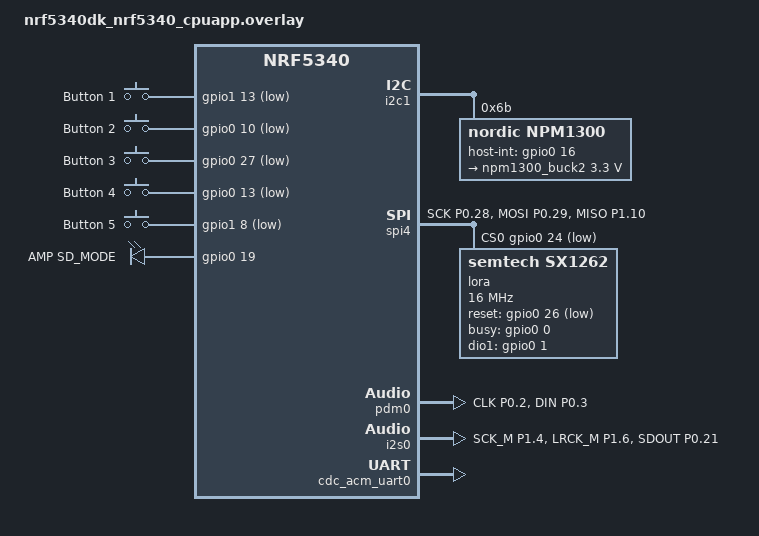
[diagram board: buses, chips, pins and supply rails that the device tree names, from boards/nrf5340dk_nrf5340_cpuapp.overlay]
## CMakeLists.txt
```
cmake_minimum_required(VERSION 3.20.0)

list(APPEND BOARD_ROOT ${CMAKE_CURRENT_SOURCE_DIR})

find_package(Zephyr REQUIRED HINTS $ENV{ZEPHYR_BASE})
project(volora)

file(GLOB CODEC2_SOURCES "lib/codec2/*.c")

file(GLOB APP_SOURCES "src/*.c")

target_sources(app PRIVATE ${APP_SOURCES} ${CODEC2_SOURCES})

target_include_directories(app PRIVATE lib/codec2)

target_compile_definitions(app PRIVATE
    CODEC2_MODE_EN_DEFAULT=0
    CODEC2_MODE_2400_EN=1
    __EMBEDDED__
    FDV_ARM_MATH
)
```

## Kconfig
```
mainmenu "Codec2 LoRa Voice"

source "Kconfig.zephyr"

choice LORA_VOICE_ROLE
	prompt "LoRa voice role"
	default LORA_VOICE_RX

config LORA_VOICE_TX
	bool "Transmitter (TX)"
	help
	  Encode audio from hts1a test data with Codec2 and transmit over LoRa.

config LORA_VOICE_RX
	bool "Receiver (RX)"
	help
	  Receive LoRa packets, decode with Codec2, output raw PCM via RTT channel 1.

endchoice
```

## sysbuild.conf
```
# Enable MCUboot bootloader
SB_CONFIG_BOOTLOADER_MCUBOOT=y

# Overwrite-only mode (no swap, simpler)
SB_CONFIG_MCUBOOT_MODE_OVERWRITE_ONLY=y

# Use DTS-based partitioning (partition manager is deprecated)
SB_CONFIG_PARTITION_MANAGER=n
```

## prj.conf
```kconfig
# Console over USB CDC ACM
CONFIG_USB_DEVICE_STACK_NEXT=y
CONFIG_CDC_ACM_SERIAL_INITIALIZE_AT_BOOT=y
CONFIG_UART_LINE_CTRL=y
CONFIG_CDC_ACM_SERIAL_MANUFACTURER_STRING="VoLoRa"
CONFIG_CDC_ACM_SERIAL_PRODUCT_STRING="Serial Port"

# Logging disabled for PDM data capture test
CONFIG_LOG=n

# MCUboot support
CONFIG_BOOTLOADER_MCUBOOT=y
CONFIG_FLASH=y
CONFIG_FLASH_MAP=y
CONFIG_IMG_MANAGER=y
CONFIG_STREAM_FLASH=y

# nPM1300 PMIC
CONFIG_I2C=y
CONFIG_MFD=y
CONFIG_MFD_NPM13XX=y
CONFIG_REGULATOR=y
CONFIG_REGULATOR_NPM13XX=y
CONFIG_SENSOR=y
CONFIG_NPM13XX_CHARGER=y
CONFIG_LED=y
CONFIG_LED_NPM13XX=y

# SPI + LoRa
CONFIG_SPI=y
CONFIG_LORA=y

# Codec2 needs a large main stack for nlp_create internals
CONFIG_MAIN_STACK_SIZE=16384
CONFIG_FPU=y

# CMSIS-DSP (used by Codec2 FDV_ARM_MATH path)
CONFIG_CMSIS_DSP=y
CONFIG_CMSIS_DSP_TRANSFORM=y
CONFIG_CMSIS_DSP_BASICMATH=y

# Audio: PDM microphone + I2S speaker
CONFIG_AUDIO=y
CONFIG_AUDIO_DMIC=y
CONFIG_I2S=y
CONFIG_BASE64=y
```

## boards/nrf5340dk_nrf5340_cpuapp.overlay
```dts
/*
 * nPM1300 PMIC connected via I2C
 * SCL: P1.02 (nRF5340) -> Pin 14 (nPM1300)
 * SDA: P0.09 (nRF5340) -> Pin 13 (nPM1300)
 * INT: P0.16 (nRF5340) <- GPIO1/Pin 8 (nPM1300)
 */

#include <zephyr/dt-bindings/lora/sx126x.h>

/* No LFXO on this board - use internal RC oscillator */
&lfxo {
	status = "disabled";
};

/* HFXO: 8 pF with internal load capacitors */
&hfxo {
	load-capacitors = "internal";
	load-capacitance-femtofarad = <8000>;
};

/* No QSPI flash on this board */
&qspi {
	status = "disabled";
};

&pinctrl {
	i2c1_default: i2c1_default {
		group1 {
			psels = <NRF_PSEL(TWIM_SDA, 0, 9)>,
				<NRF_PSEL(TWIM_SCL, 1, 2)>;
			bias-pull-up;
		};
	};

	i2c1_sleep: i2c1_sleep {
		group1 {
			psels = <NRF_PSEL(TWIM_SDA, 0, 9)>,
				<NRF_PSEL(TWIM_SCL, 1, 2)>;
			low-power-enable;
		};
	};

	spi4_default: spi4_default {
		group1 {
			psels = <NRF_PSEL(SPIM_SCK, 0, 28)>,
				<NRF_PSEL(SPIM_MOSI, 0, 29)>,
				<NRF_PSEL(SPIM_MISO, 1, 10)>;
		};
	};

	spi4_sleep: spi4_sleep {
		group1 {
			psels = <NRF_PSEL(SPIM_SCK, 0, 28)>,
				<NRF_PSEL(SPIM_MOSI, 0, 29)>,
				<NRF_PSEL(SPIM_MISO, 1, 10)>;
			low-power-enable;
		};
	};

	pdm0_default: pdm0_default {
		group1 {
			psels = <NRF_PSEL(PDM_CLK, 0, 2)>,
				<NRF_PSEL(PDM_DIN, 0, 3)>;
		};
	};

	pdm0_sleep: pdm0_sleep {
		group1 {
			psels = <NRF_PSEL(PDM_CLK, 0, 2)>,
				<NRF_PSEL(PDM_DIN, 0, 3)>;
			low-power-enable;
		};
	};

	i2s0_default: i2s0_default {
		group1 {
			psels = <NRF_PSEL(I2S_SCK_M, 1, 4)>,
				<NRF_PSEL(I2S_LRCK_M, 1, 6)>,
				<NRF_PSEL(I2S_SDOUT, 0, 21)>;
		};
	};

	i2s0_sleep: i2s0_sleep {
		group1 {
			psels = <NRF_PSEL(I2S_SCK_M, 1, 4)>,
				<NRF_PSEL(I2S_LRCK_M, 1, 6)>,
				<NRF_PSEL(I2S_SDOUT, 0, 21)>;
			low-power-enable;
		};
	};
};

&i2c1 {
	npm1300: pmic@6b {
		compatible = "nordic,npm1300";
		reg = <0x6b>;
		host-int-gpios = <&gpio0 16 0>;
		pmic-int-pin = <1>;

		npm1300_regulators: regulators {
			compatible = "nordic,npm1300-regulator";

			/* BUCK1: Disabled (VSET1 tied to GND) */
			npm1300_buck1: BUCK1 {
			};

			/* BUCK2: 3.3V output on VOUT2, powers MCU VDD via JP1 */
			npm1300_buck2: BUCK2 {
				regulator-min-microvolt = <3300000>;
				regulator-max-microvolt = <3300000>;
				regulator-init-microvolt = <3300000>;
				regulator-boot-on;
			};
		};

		npm1300_charger: charger {
			compatible = "nordic,npm1300-charger";
			term-microvolt = <4200000>;
			term-warm-microvolt = <4000000>;
			current-microamp = <800000>;
			dischg-limit-microamp = <1000000>;
			vbus-limit-microamp = <1200000>;
			thermistor-ohms = <10000>;
			thermistor-beta = <3435>;
			charging-enable;
		};

		npm1300_leds: leds {
			compatible = "nordic,npm1300-led";
			/* LED0 (pin 25) = Blue, LED1 (pin 26) = Green, LED2 (pin 27) = Red */
			nordic,led0-mode = "charging";
			nordic,led1-mode = "host";
			nordic,led2-mode = "error";
		};
	};
};

/* SPI4 for Wio-SX1262 LoRa module */
&spi4 {
	compatible = "nordic,nrf-spim";
	status = "okay";
	pinctrl-0 = <&spi4_default>;
	pinctrl-1 = <&spi4_sleep>;
	pinctrl-names = "default", "sleep";
	cs-gpios = <&gpio0 24 GPIO_ACTIVE_LOW>;

	lora: sx1262@0 {
		compatible = "semtech,sx1262";
		reg = <0>;
		spi-max-frequency = <16000000>;
		reset-gpios = <&gpio0 26 GPIO_ACTIVE_LOW>;
		busy-gpios = <&gpio0 0 GPIO_ACTIVE_HIGH>;
		dio1-gpios = <&gpio0 1 GPIO_ACTIVE_HIGH>;
		dio2-tx-enable;
		dio3-tcxo-voltage = <SX126X_DIO3_TCXO_1V8>;
		tcxo-power-startup-delay-ms = <5>;
	};
};

/ {
	buttons {
		compatible = "gpio-keys";

		button0: button_0 {
			gpios = <&gpio1 13 (GPIO_PULL_UP | GPIO_ACTIVE_LOW)>;
			label = "Button 1";
		};
		button1: button_1 {
			gpios = <&gpio0 10 (GPIO_PULL_UP | GPIO_ACTIVE_LOW)>;
			label = "Button 2";
		};
		button2: button_2 {
			gpios = <&gpio0 27 (GPIO_PULL_UP | GPIO_ACTIVE_LOW)>;
			label = "Button 3";
		};
		button3: button_3 {
			gpios = <&gpio0 13 (GPIO_PULL_UP | GPIO_ACTIVE_LOW)>;
			label = "Button 4";
		};
		button4: button_4 {
			gpios = <&gpio1 8 (GPIO_PULL_UP | GPIO_ACTIVE_LOW)>;
			label = "Button 5";
		};
	};

	/* MAX98357A SD_MODE enable pin (active high) */
	amp_sd_mode: amp-sd-mode {
		compatible = "gpio-leds";
		amp_en: amp_en {
			gpios = <&gpio0 19 GPIO_ACTIVE_HIGH>;
			label = "AMP SD_MODE";
		};
	};

	chosen {
		zephyr,console = &cdc_acm_uart0;
	};
};

/* PDM microphone (MSM261DGT003) */
dmic_dev: &pdm0 {
	status = "okay";
	pinctrl-0 = <&pdm0_default>;
	pinctrl-1 = <&pdm0_sleep>;
	pinctrl-names = "default", "sleep";
	clock-source = "PCLK32M_HFXO";
};

/* I2S output to MAX98357A speaker amp */
&i2s0 {
	status = "okay";
	pinctrl-0 = <&i2s0_default>;
	pinctrl-1 = <&i2s0_sleep>;
	pinctrl-names = "default", "sleep";
};

/* USB CDC ACM for console output and MCUmgr DFU */
&zephyr_udc0 {
	cdc_acm_uart0: cdc_acm_uart0 {
		compatible = "zephyr,cdc-acm-uart";
	};
};
```

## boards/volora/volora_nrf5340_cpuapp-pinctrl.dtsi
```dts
&pinctrl {
	i2c1_default: i2c1_default {
		group1 {
			psels = <NRF_PSEL(TWIM_SDA, 0, 9)>,
				<NRF_PSEL(TWIM_SCL, 1, 2)>;
			bias-pull-up;
		};
	};

	i2c1_sleep: i2c1_sleep {
		group1 {
			psels = <NRF_PSEL(TWIM_SDA, 0, 9)>,
				<NRF_PSEL(TWIM_SCL, 1, 2)>;
			low-power-enable;
		};
	};

	spi4_default: spi4_default {
		group1 {
			psels = <NRF_PSEL(SPIM_SCK, 0, 28)>,
				<NRF_PSEL(SPIM_MOSI, 0, 29)>,
				<NRF_PSEL(SPIM_MISO, 1, 10)>;
		};
	};

	spi4_sleep: spi4_sleep {
		group1 {
			psels = <NRF_PSEL(SPIM_SCK, 0, 28)>,
				<NRF_PSEL(SPIM_MOSI, 0, 29)>,
				<NRF_PSEL(SPIM_MISO, 1, 10)>;
			low-power-enable;
		};
	};

	pdm0_default: pdm0_default {
		group1 {
			psels = <NRF_PSEL(PDM_CLK, 0, 2)>,
				<NRF_PSEL(PDM_DIN, 0, 3)>;
		};
	};

	pdm0_sleep: pdm0_sleep {
		group1 {
			psels = <NRF_PSEL(PDM_CLK, 0, 2)>,
				<NRF_PSEL(PDM_DIN, 0, 3)>;
			low-power-enable;
		};
	};

	i2s0_default: i2s0_default {
		group1 {
			psels = <NRF_PSEL(I2S_SCK_M, 1, 4)>,
				<NRF_PSEL(I2S_LRCK_M, 1, 6)>,
				<NRF_PSEL(I2S_SDOUT, 0, 21)>;
		};
	};

	i2s0_sleep: i2s0_sleep {
		group1 {
			psels = <NRF_PSEL(I2S_SCK_M, 1, 4)>,
				<NRF_PSEL(I2S_LRCK_M, 1, 6)>,
				<NRF_PSEL(I2S_SDOUT, 0, 21)>;
			low-power-enable;
		};
	};
};
```

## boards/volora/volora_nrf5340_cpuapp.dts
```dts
/dts-v1/;
#include <nordic/nrf5340_cpuapp_qkaa.dtsi>
#include "volora_nrf5340_cpuapp-pinctrl.dtsi"
#include <zephyr/dt-bindings/lora/sx126x.h>

/ {
	model = "VoLoRa";
	compatible = "custom,volora";

	aliases {
		lora0 = &lora;
	};

	chosen {
		zephyr,sram = &sram0_image;
		zephyr,flash = &flash0;
		zephyr,code-partition = &slot0_partition;
		zephyr,console = &cdc_acm_uart0;
	};

	buttons {
		compatible = "gpio-keys";

		button0: button_0 {
			gpios = <&gpio1 13 (GPIO_PULL_UP | GPIO_ACTIVE_LOW)>;
			label = "Button 1";
		};
		button1: button_1 {
			gpios = <&gpio0 10 (GPIO_PULL_UP | GPIO_ACTIVE_LOW)>;
			label = "Button 2";
		};
		button2: button_2 {
			gpios = <&gpio0 27 (GPIO_PULL_UP | GPIO_ACTIVE_LOW)>;
			label = "Button 3";
		};
		button3: button_3 {
			gpios = <&gpio0 13 (GPIO_PULL_UP | GPIO_ACTIVE_LOW)>;
			label = "Button 4";
		};
		button4: button_4 {
			gpios = <&gpio1 8 (GPIO_PULL_UP | GPIO_ACTIVE_LOW)>;
			label = "Button 5";
		};
	};

	/* MAX98357A SD_MODE enable pin */
	amp_sd_mode: amp-sd-mode {
		compatible = "gpio-leds";
		amp_en: amp_en {
			gpios = <&gpio0 19 GPIO_ACTIVE_HIGH>;
			label = "AMP SD_MODE";
		};
	};
};

/* No LFXO on this board */
&lfxo {
	status = "disabled";
};

/* HFXO: 8 pF with internal load capacitors */
&hfxo {
	load-capacitors = "internal";
	load-capacitance-femtofarad = <8000>;
};

/* No QSPI flash on this board */
&qspi {
	status = "disabled";
};

/* Release NFC pins (P0.02, P0.03) for GPIO/PDM use */
&uicr {
	nfct-pins-as-gpios;
};

&gpio0 {
	status = "okay";
};

&gpio1 {
	status = "okay";
};

&gpiote {
	status = "okay";
};

/* I2C1: nPM1300 PMIC */
&i2c1 {
	compatible = "nordic,nrf-twim";
	status = "okay";
	pinctrl-0 = <&i2c1_default>;
	pinctrl-1 = <&i2c1_sleep>;
	pinctrl-names = "default", "sleep";

	npm1300: pmic@6b {
		compatible = "nordic,npm1300";
		reg = <0x6b>;
		host-int-gpios = <&gpio0 16 0>;
		pmic-int-pin = <1>;

		npm1300_regulators: regulators {
			compatible = "nordic,npm1300-regulator";

			npm1300_buck1: BUCK1 {
			};

			npm1300_buck2: BUCK2 {
				regulator-min-microvolt = <3300000>;
				regulator-max-microvolt = <3300000>;
				regulator-init-microvolt = <3300000>;
				regulator-boot-on;
			};
		};

		npm1300_charger: charger {
			compatible = "nordic,npm1300-charger";
			term-microvolt = <4200000>;
			term-warm-microvolt = <4000000>;
			current-microamp = <800000>;
			dischg-limit-microamp = <1000000>;
			vbus-limit-microamp = <1200000>;
			thermistor-ohms = <10000>;
			thermistor-beta = <3435>;
			charging-enable;
		};

		npm1300_leds: leds {
			compatible = "nordic,npm1300-led";
			nordic,led0-mode = "charging";
			nordic,led1-mode = "host";
			nordic,led2-mode = "error";
		};
	};
};

/* SPI4: Wio-SX1262 LoRa module */
&spi4 {
	compatible = "nordic,nrf-spim";
	status = "okay";
	pinctrl-0 = <&spi4_default>;
	pinctrl-1 = <&spi4_sleep>;
	pinctrl-names = "default", "sleep";
	cs-gpios = <&gpio0 24 GPIO_ACTIVE_LOW>;

	lora: sx1262@0 {
		compatible = "semtech,sx1262";
		reg = <0>;
		spi-max-frequency = <1000000>;
		reset-gpios = <&gpio0 26 GPIO_ACTIVE_LOW>;
		busy-gpios = <&gpio0 0 GPIO_ACTIVE_HIGH>;
		dio1-gpios = <&gpio0 1 GPIO_ACTIVE_HIGH>;
		dio2-tx-enable;
		dio3-tcxo-voltage = <SX126X_DIO3_TCXO_1V8>;
		tcxo-power-startup-delay-ms = <5>;
	};
};

/* PDM microphone (MSM261DGT003) */
dmic_dev: &pdm0 {
	status = "okay";
	pinctrl-0 = <&pdm0_default>;
	pinctrl-1 = <&pdm0_sleep>;
	pinctrl-names = "default", "sleep";
	clock-source = "PCLK32M_HFXO";
};

/* I2S output to MAX98357A speaker amp */
&i2s0 {
	status = "okay";
	pinctrl-0 = <&i2s0_default>;
	pinctrl-1 = <&i2s0_sleep>;
	pinctrl-names = "default", "sleep";
};

/* USB */
zephyr_udc0: &usbd {
	compatible = "nordic,nrf-usbd";
	status = "okay";

	cdc_acm_uart0: cdc_acm_uart0 {
		compatible = "zephyr,cdc-acm-uart";
	};
};

/* Flash partitions */
#include <nordic/nrf5340_cpuapp_partition.dtsi>
```

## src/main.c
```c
/*
 * VoLoRa — Push-to-Talk voice over LoRa
 *
 * Architecture: 6 threads in 3 pairs + 4 message queues
 *
 * TX path (PTT held):
 *   [Mic Thread] --Q1(PCM)--> [Encode Thread] --Q2(coded)--> [LoRa TX Thread]
 *
 * RX path (PTT released):
 *   [LoRa RX Thread] --Q3(coded)--> [Decode Thread] --Q4(PCM)--> [Speaker Thread]
 *
 * Interrupts:
 *   - PTT button (SW3, P1.13): starts/stops TX path
 *   - LoRa RX async callback: feeds Q3
 */

#include <hal/nrf_pdm.h>
#include <string.h>
#include <zephyr/audio/dmic.h>
#include <zephyr/drivers/gpio.h>
#include <zephyr/drivers/i2s.h>
#include <zephyr/drivers/led.h>
#include <zephyr/drivers/lora.h>
#include <zephyr/drivers/uart.h>
#include <zephyr/kernel.h>

#include "codec2.h"

/* ── Radio config ─────────────────────────────────────────────────────────── */
#define RF_FREQ 868123456
#define TX_POWER 14
#define RF_BW BW_125_KHZ
#define RF_SF SF_7
#define RF_CR CR_4_5
#define RF_PREAMBLE 8

/* ── Codec2 2400 bps constants ────────────────────────────────────────────── */
#define CODEC2_MODE_VAL CODEC2_MODE_2400
#define C2_NSAM 160 /* samples per frame (8 kHz × 20 ms) */
#define C2_NBYTE 6  /* encoded bytes per frame */
#define FRAMES_PER_PKT 4

/* Packet layout: [1 byte header][FRAMES_PER_PKT × C2_NBYTE payload] = 25 bytes
 *
 * Header byte:
 *   bits [7:4]  4-bit rolling sequence number (0–15)
 *   bit  [3]    NEW_SESSION — set on first packet of each PTT press
 *   bits [2:0]  reserved
 */
#define PKT_PAYLOAD (FRAMES_PER_PKT * C2_NBYTE) /* 24 bytes */
#define PKT_LEN (1 + PKT_PAYLOAD)               /* 25 bytes */
#define HDR_SEQ_SHIFT 4
#define HDR_SEQ_MASK 0xF0U
#define HDR_NEW_SESSION BIT(3)
#define HDR_BENCHMARK BIT(2)      /* packet is part of a benchmark run */
#define HDR_BENCHMARK_LAST BIT(1) /* last packet of the benchmark run */

/* ── Benchmark config ─────────────────────────────────────────────────────── */
/* Uncomment to compile in benchmark mode: PTT sends 100 dummy packets instead
   of voice; the receiver counts and reports how many arrived. */
#define BENCHMARK_MODE
#define BENCHMARK_PKT_COUNT 100

/* ── Audio config ─────────────────────────────────────────────────────────── */
/* Request 8 kHz directly from the DMIC driver; it handles decimation internally
   with a better filter than our 2-tap pair-average. */
#define PDM_SAMPLE_RATE 8000
#define PDM_MIN_CLK 500000
#define PDM_BLOCK_SIZE (PDM_SAMPLE_RATE / 50 * sizeof(int16_t))
#define PDM_BLOCK_COUNT 8
#define I2S_SAMPLE_RATE 8000
#define I2S_BLOCK_SAMPLES C2_NSAM                                /* 160 = 20ms at 8 kHz */
#define I2S_BLOCK_SIZE (I2S_BLOCK_SAMPLES * 2 * sizeof(int16_t)) /* stereo */
#define I2S_BLOCK_COUNT 4

/* ── Hardware nodes ───────────────────────────────────────────────────────── */
#define AMP_EN_NODE DT_NODELABEL(amp_en)
#define SW3_NODE DT_NODELABEL(button0) /* P1.13 */
#define LED_DEV_NODE DT_NODELABEL(npm1300_leds)
#define LED_GREEN 1

/* ── Queue depths ─────────────────────────────────────────────────────────── */
#define PCM_Q_DEPTH 8
#define CODED_Q_DEPTH 16

/* ── Queue message types ──────────────────────────────────────────────────── */
typedef struct {
    int16_t samples[C2_NSAM]; /* 160 samples, 320 bytes */
} pcm_frame_t;

typedef struct {
    uint8_t bits[C2_NBYTE]; /* 6 bytes */
} coded_frame_t;

typedef struct {
    uint8_t data[PKT_LEN]; /* 1 header + 24 payload = 25 bytes */
    uint16_t len;
    int16_t rssi;
} lora_pkt_t;

/* ── Message queues (4 total) ─────────────────────────────────────────────── */
K_MSGQ_DEFINE(q1_mic_to_enc, sizeof(pcm_frame_t), PCM_Q_DEPTH, 4);
K_MSGQ_DEFINE(q2_enc_to_tx, sizeof(coded_frame_t), CODED_Q_DEPTH, 4);
K_MSGQ_DEFINE(q3_rx_to_dec, sizeof(lora_pkt_t), 8, 4);
K_MSGQ_DEFINE(q4_dec_to_spk, sizeof(pcm_frame_t), PCM_Q_DEPTH, 4);

/* ── Memory slabs for DMA ─────────────────────────────────────────────────── */
K_MEM_SLAB_DEFINE_STATIC(pdm_slab, PDM_BLOCK_SIZE, PDM_BLOCK_COUNT, 4);
K_MEM_SLAB_DEFINE_STATIC(i2s_slab, I2S_BLOCK_SIZE, I2S_BLOCK_COUNT, 4);

/* ── Shared state ─────────────────────────────────────────────────────────── */
static const struct device* dmic_dev;
static const struct device* i2s_dev;
static const struct device* lora_dev;
static const struct device* led_dev;
static struct gpio_dt_spec amp_en;
static struct gpio_dt_spec sw3;
static struct gpio_callback sw3_cb_data;

static struct CODEC2* codec2;

static volatile bool tx_active; /* true = PTT held, transmitting */

#ifdef BENCHMARK_MODE
static int bench_rx_count;
static int bench_rx_errors;
static bool bench_rx_active;
#endif

/* ═══════════════════════════════════════════════════════════════════════════
 * PTT button interrupt
 * ═══════════════════════════════════════════════════════════════════════════ */
static void ptt_isr(const struct device* dev, struct gpio_callback* cb, uint32_t pins) {
    tx_active = (gpio_pin_get_dt(&sw3) != 0);
}

/* ═══════════════════════════════════════════════════════════════════════════
 * Thread 1: Mic (TX path)
 *   Records PDM at 16 kHz, decimates 2:1 to 8 kHz, sends PCM frames on Q1
 * ═══════════════════════════════════════════════════════════════════════════ */
static void mic_thread_fn(void* a, void* b, void* c) {
    struct pcm_stream_cfg stream = {
        .pcm_width = 16,
        .mem_slab = &pdm_slab,
    };
    struct dmic_cfg cfg = {
        .io = {
            .min_pdm_clk_freq = PDM_MIN_CLK,
            .max_pdm_clk_freq = 4000000,
            .min_pdm_clk_dc = 40,
            .max_pdm_clk_dc = 60,
        },
        .streams = &stream,
        .channel = {
            .req_num_streams = 1,
            .req_num_chan = 1,
            .req_chan_map_lo = dmic_build_channel_map(0, 0, PDM_CHAN_RIGHT),
        },
    };
    stream.pcm_rate = PDM_SAMPLE_RATE;
    stream.block_size = PDM_BLOCK_SIZE;

    if (dmic_configure(dmic_dev, &cfg) < 0) {
        printk("DMIC configure failed\n");
        return;
    }

    /* +20 dB gain for -26 dBFS mic */
    NRF_PDM0_S->GAINL = 0x50;
    NRF_PDM0_S->GAINR = 0x50;

    bool was_active = false;
    int skip_frames = 0;

    while (true) {
        if (!tx_active) {
            if (was_active) {
                dmic_trigger(dmic_dev, DMIC_TRIGGER_STOP);
                was_active = false;
            }
            k_msleep(10);
            continue;
        }

        if (!was_active) {
            dmic_trigger(dmic_dev, DMIC_TRIGGER_START);
            was_active = true;
            skip_frames = 3;
            led_on(led_dev, LED_GREEN);
        }

        void* buffer;
        uint32_t size;
        int64_t t0 = k_uptime_get();
        int ret = dmic_read(dmic_dev, 0, &buffer, &size, 200);
        int64_t dt = k_uptime_get() - t0;

        if (ret < 0) {
            continue;
        }

        if (skip_frames > 0) {
            k_mem_slab_free(&pdm_slab, buffer);
            skip_frames--;
            if (skip_frames == 0) {
                /* Print timing of the first real block */
                printk(
                    "[MIC] block interval=%d ms  size=%u B  "
                    "=> actual_rate~%d Hz\n",
                    (int)dt, size,
                    (int)(1000u * (size / sizeof(int16_t)) / (uint32_t)dt));
            }
            continue;
        }

        pcm_frame_t frame;
        int copy = MIN(C2_NSAM, (int)(size / sizeof(int16_t)));
        memcpy(frame.samples, buffer, copy * sizeof(int16_t));

        k_mem_slab_free(&pdm_slab, buffer);
        k_msgq_put(&q1_mic_to_enc, &frame, K_NO_WAIT);
    }
}

/* ═══════════════════════════════════════════════════════════════════════════
 * Thread 2: Speaker (RX path)
 *   Takes decoded 8 kHz PCM from Q4, upsamples to 16 kHz, outputs via I2S
 * ═══════════════════════════════════════════════════════════════════════════ */
/* Alloc a slab block, fill it from frame (upsampled 8→16 kHz, mono→stereo),
   hand it to i2s_write. Returns 0 on success; frees the block on failure. */
static int spk_write_frame(const pcm_frame_t* frame) {
    void* buf;

    if (k_mem_slab_alloc(&i2s_slab, &buf, K_MSEC(100)) != 0) {
        return -ENOMEM;
    }

    int16_t* out = (int16_t*)buf;

    /* I2S runs at 8 kHz — mono→stereo, no upsampling needed */
    for (int i = 0; i < C2_NSAM; i++) {
        out[i * 2] = frame->samples[i];     /* L */
        out[i * 2 + 1] = frame->samples[i]; /* R */
    }

    int ret = i2s_write(i2s_dev, buf, I2S_BLOCK_SIZE);

    if (ret != 0) {
        k_mem_slab_free(&i2s_slab, buf);
    }

    return ret;
}

static void speaker_thread_fn(void* a, void* b, void* c) {
    static const struct i2s_config i2s_cfg = {
        .word_size = 16,
        .channels = 2,
        .format = I2S_FMT_DATA_FORMAT_I2S,
        .options = I2S_OPT_BIT_CLK_MASTER | I2S_OPT_FRAME_CLK_MASTER,
        .frame_clk_freq = I2S_SAMPLE_RATE,
        .mem_slab = &i2s_slab,
        .block_size = I2S_BLOCK_SIZE,
        .timeout = 1000,
    };
    static const pcm_frame_t silence; /* zero-initialised */

    bool i2s_running = false;
    bool amp_on = false;
    int silent_frames = 0;

    while (true) {
        pcm_frame_t frame;
        bool have_audio = (k_msgq_get(&q4_dec_to_spk, &frame, K_NO_WAIT) == 0);

        /* ── Not yet started: wait for first real audio frame ── */
        if (!i2s_running) {
            if (!have_audio) {
                k_msleep(5);
                continue;
            }

            printk("[SPK] start\n");
            gpio_pin_set_dt(&amp_en, 1);
            amp_on = true;
            led_on(led_dev, LED_GREEN);
            i2s_configure(i2s_dev, I2S_DIR_TX, &i2s_cfg);

            /* Pre-fill 2 slots: nRF I2S double-buffer needs ≥2 before START */
            if (spk_write_frame(&frame) != 0) {
                gpio_pin_set_dt(&amp_en, 0);
                amp_on = false;
                led_off(led_dev, LED_GREEN);
                k_msleep(10);
                continue;
            }

            pcm_frame_t f2 = {0};
            k_msgq_get(&q4_dec_to_spk, &f2, K_NO_WAIT);
            spk_write_frame(&f2);

            i2s_trigger(i2s_dev, I2S_DIR_TX, I2S_TRIGGER_START);
            i2s_running = true;
            silent_frames = 0;
            continue;
        }

        /* ── I2S running: write audio or silence to keep DMA fed ── */
        const pcm_frame_t* to_write;

        if (have_audio) {
            to_write = &frame;
            silent_frames = 0;
            if (!amp_on) {
                gpio_pin_set_dt(&amp_en, 1);
                led_on(led_dev, LED_GREEN);
                amp_on = true;
            }
        } else {
            to_write = &silence;
            silent_frames++;
            /* Disable amp after ~200 ms of silence (10 × 20 ms frames) */
            if (amp_on && silent_frames > 10) {
                gpio_pin_set_dt(&amp_en, 0);
                led_off(led_dev, LED_GREEN);
                amp_on = false;
            }
        }

        int ret = spk_write_frame(to_write);

        if (ret != 0) {
            printk("[SPK] err %d — restarting\n", ret);
            i2s_trigger(i2s_dev, I2S_DIR_TX, I2S_TRIGGER_DROP);
            gpio_pin_set_dt(&amp_en, 0);
            led_off(led_dev, LED_GREEN);
            i2s_running = false;
            amp_on = false;
        }
    }
}

/* ═══════════════════════════════════════════════════════════════════════════
 * Thread 3: Codec2 Encode (TX path)
 * ═══════════════════════════════════════════════════════════════════════════ */
static void encode_thread_fn(void* a, void* b, void* c) {
    pcm_frame_t frame;
    coded_frame_t coded;

    while (true) {
        if (k_msgq_get(&q1_mic_to_enc, &frame, K_FOREVER) == 0) {
            codec2_encode(codec2, coded.bits, frame.samples);
            k_msgq_put(&q2_enc_to_tx, &coded, K_MSEC(50));
        }
    }
}

/* ═══════════════════════════════════════════════════════════════════════════
 * Thread 4: Codec2 Decode (RX path)
 * ═══════════════════════════════════════════════════════════════════════════ */
static void decode_thread_fn(void* a, void* b, void* c) {
    lora_pkt_t pkt;
    pcm_frame_t frame;
    uint8_t last_seq = 0xFF;

    while (true) {
        if (k_msgq_get(&q3_rx_to_dec, &pkt, K_FOREVER) != 0) {
            continue;
        }
        if (pkt.len < 1 + C2_NBYTE) {
            continue;
        }

        uint8_t hdr = pkt.data[0];
        uint8_t seq = (hdr & HDR_SEQ_MASK) >> HDR_SEQ_SHIFT;
        bool new_session = (hdr & HDR_NEW_SESSION) != 0;

        if (!new_session && last_seq != 0xFF) {
            uint8_t expected = (last_seq + 1) & 0x0FU;
            if (seq != expected) {
                printk("[DEC] lost pkt: expected seq %d got %d\n",
                       expected, seq);
            }
        }
        last_seq = seq;

        int frames = (pkt.len - 1) / C2_NBYTE;

        for (int f = 0; f < frames; f++) {
            codec2_decode(codec2, frame.samples,
                          &pkt.data[1 + f * C2_NBYTE]);
            /* First packet of a new PTT session: warm up decoder state
               but don't play — avoids click/garbage on session start. */
            if (!new_session) {
                k_msgq_put(&q4_dec_to_spk, &frame, K_MSEC(50));
            }
        }
    }
}

/* ═══════════════════════════════════════════════════════════════════════════
 * Thread 5: LoRa TX (TX path)
 *   Collects FRAMES_PER_PKT encoded frames from Q2, transmits packet
 * ═══════════════════════════════════════════════════════════════════════════ */
static K_MUTEX_DEFINE(radio_mutex);

static void lora_configure(bool tx) {
    struct lora_modem_config cfg = {
        .frequency = RF_FREQ,
        .bandwidth = RF_BW,
        .datarate = RF_SF,
        .coding_rate = RF_CR,
        .preamble_len = RF_PREAMBLE,
        .tx_power = TX_POWER,
        .tx = tx,
    };
    lora_config(lora_dev, &cfg);
}

static void lora_tx_thread_fn(void* a, void* b, void* c) {
    uint8_t pkt_buf[PKT_LEN];
    coded_frame_t coded;
    bool in_tx_mode = false;
    bool session_started = false;
    uint8_t tx_seq = 0;

    while (true) {
        if (!tx_active) {
            in_tx_mode = false;
            session_started = false;
            k_msleep(10);
            continue;
        }

        /* Switch to TX once per PTT press */
        if (!in_tx_mode) {
            k_mutex_lock(&radio_mutex, K_FOREVER);
            lora_configure(true);
            k_mutex_unlock(&radio_mutex);
            in_tx_mode = true;
            tx_seq = 0;

#ifdef BENCHMARK_MODE
            printk("[BENCH] TX start — sending %d packets\n", BENCHMARK_PKT_COUNT);
            for (int i = 0; i < BENCHMARK_PKT_COUNT; i++) {
                uint8_t hdr = ((tx_seq & 0x0FU) << HDR_SEQ_SHIFT) | HDR_BENCHMARK;
                if (i == 0)
                    hdr |= HDR_NEW_SESSION;
                if (i == BENCHMARK_PKT_COUNT - 1)
                    hdr |= HDR_BENCHMARK_LAST;
                tx_seq = (tx_seq + 1) & 0x0FU;
                pkt_buf[0] = hdr;
                /* payload = seq value repeated; receiver uses this to detect corruption */
                memset(&pkt_buf[1], hdr >> HDR_SEQ_SHIFT, PKT_PAYLOAD);

                k_mutex_lock(&radio_mutex, K_FOREVER);
                int ret = lora_send(lora_dev, pkt_buf, PKT_LEN);
                k_mutex_unlock(&radio_mutex);
                printk("[BENCH TX] %d/%d%s\n", i + 1, BENCHMARK_PKT_COUNT,
                       ret < 0 ? " ERR" : "");
            }
            printk("[BENCH] TX done\n");
            while (tx_active) {
                k_msleep(10);
            }
            continue;
#endif
        }

        /* Build header */
        uint8_t hdr = (tx_seq & 0x0FU) << HDR_SEQ_SHIFT;
        if (!session_started) {
            hdr |= HDR_NEW_SESSION;
            session_started = true;
        }
        tx_seq = (tx_seq + 1) & 0x0FU;
        pkt_buf[0] = hdr;

        /* Always collect exactly FRAMES_PER_PKT frames; pad zeros if TX ends early */
        for (int f = 0; f < FRAMES_PER_PKT; f++) {
            if (k_msgq_get(&q2_enc_to_tx, &coded, K_MSEC(100)) == 0) {
                memcpy(&pkt_buf[1 + f * C2_NBYTE], coded.bits, C2_NBYTE);
            } else {
                memset(&pkt_buf[1 + f * C2_NBYTE], 0, C2_NBYTE);
            }
        }

        k_mutex_lock(&radio_mutex, K_FOREVER);
        int ret = lora_send(lora_dev, pkt_buf, PKT_LEN);
        k_mutex_unlock(&radio_mutex);

        if (ret < 0) {
            printk("[TX] err %d\n", ret);
        } else {
            printk("[TX] seq=%d%s\n", (hdr >> HDR_SEQ_SHIFT),
                   (hdr & HDR_NEW_SESSION) ? " NEW" : "");
        }
    }
}

/* ═══════════════════════════════════════════════════════════════════════════
 * Thread 6: LoRa RX (RX path)
 *   Blocking receive with short timeout so PTT can interrupt it.
 * ═══════════════════════════════════════════════════════════════════════════ */
static void lora_rx_thread_fn(void* a, void* b, void* c) {
    uint8_t buf[PKT_LEN];
    int16_t rssi;
    int8_t snr;
    bool in_rx_mode = false;

    while (true) {
        if (tx_active) {
            in_rx_mode = false;
            k_msleep(20);
            continue;
        }

        k_mutex_lock(&radio_mutex, K_FOREVER);

        /* Re-check after acquiring: TX may have just started */
        if (tx_active) {
            in_rx_mode = false;
            k_mutex_unlock(&radio_mutex);
            continue;
        }

        if (!in_rx_mode) {
            lora_configure(false);
            in_rx_mode = true;
        }

        int len = lora_recv(lora_dev, buf, sizeof(buf),
                            K_MSEC(100), &rssi, &snr);
        k_mutex_unlock(&radio_mutex);

        if (len > 0) {
#ifdef BENCHMARK_MODE
            uint8_t hdr = buf[0];
            if (hdr & HDR_BENCHMARK) {
                if (hdr & HDR_NEW_SESSION) {
                    if (bench_rx_active) {
                        printk(
                            "[BENCH] RX interrupted — received %d/%d"
                            "  errors %d\n",
                            bench_rx_count, BENCHMARK_PKT_COUNT,
                            bench_rx_errors);
                    }
                    bench_rx_count = 0;
                    bench_rx_errors = 0;
                    bench_rx_active = true;
                    printk("[BENCH] RX session start  RSSI=%d dBm  SNR=%d dB\n",
                           rssi, snr);
                }
                if (bench_rx_active) {
                    bench_rx_count++;

                    /* verify payload: every byte should equal the seq nibble */
                    uint8_t expected = (hdr & HDR_SEQ_MASK) >> HDR_SEQ_SHIFT;
                    for (int b = 1; b < len; b++) {
                        if (buf[b] != expected) {
                            bench_rx_errors++;
                            printk(
                                "[BENCH RX] pkt %d payload error"
                                " (byte %d: got 0x%02x want 0x%02x)\n",
                                bench_rx_count, b, buf[b], expected);
                            break;
                        }
                    }
                }
                if (hdr & HDR_BENCHMARK_LAST) {
                    printk(
                        "[BENCH] RX done — %d/%d packets (%.0f%%)"
                        "  errors %d  RSSI=%d dBm  SNR=%d dB\n",
                        bench_rx_count, BENCHMARK_PKT_COUNT,
                        bench_rx_count * 100.0 / BENCHMARK_PKT_COUNT,
                        bench_rx_errors, rssi, snr);
                    bench_rx_active = false;
                }
            } else
#endif
            {
                printk("[RX] %d B  RSSI=%d dBm  SNR=%d dB\n",
                       len, rssi, snr);
                lora_pkt_t pkt = {0};
                pkt.rssi = rssi;
                memcpy(pkt.data, buf, MIN(len, (int)sizeof(pkt.data)));
                pkt.len = len;
                k_msgq_put(&q3_rx_to_dec, &pkt, K_NO_WAIT);
            }
        }
    }
}

/* ── Thread stacks ────────────────────────────────────────────────────────── */
K_THREAD_STACK_DEFINE(mic_stack, 2048);
K_THREAD_STACK_DEFINE(speaker_stack, 4096);
K_THREAD_STACK_DEFINE(encode_stack, 16384); /* Codec2 needs ~12 KB */
K_THREAD_STACK_DEFINE(decode_stack, 16384);
K_THREAD_STACK_DEFINE(lora_tx_stack, 2048);
K_THREAD_STACK_DEFINE(lora_rx_stack, 2048);

static struct k_thread mic_td, speaker_td, encode_td, decode_td, lora_tx_td, lora_rx_td;

/* ═══════════════════════════════════════════════════════════════════════════
 * Entry point
 * ═══════════════════════════════════════════════════════════════════════════ */
static void wait_for_console(void) {
    const struct device* uart = DEVICE_DT_GET(DT_NODELABEL(cdc_acm_uart0));

    if (!device_is_ready(uart)) {
        return;
    }
    uint32_t dtr = 0;
    int64_t deadline = k_uptime_get() + 3000;

    while (!dtr && k_uptime_get() < deadline) {
        uart_line_ctrl_get(uart, UART_LINE_CTRL_DTR, &dtr);
        k_msleep(100);
    }
}

int main(void) {
    wait_for_console();
    printk("=== VoLoRa Push-to-Talk ===\n");

    /* ── Device handles ── */
    dmic_dev = DEVICE_DT_GET(DT_NODELABEL(dmic_dev));
    i2s_dev = DEVICE_DT_GET(DT_NODELABEL(i2s0));
    lora_dev = DEVICE_DT_GET(DT_ALIAS(lora0));
    led_dev = DEVICE_DT_GET(LED_DEV_NODE);
    amp_en = (struct gpio_dt_spec)GPIO_DT_SPEC_GET(AMP_EN_NODE, gpios);
    sw3 = (struct gpio_dt_spec)GPIO_DT_SPEC_GET(SW3_NODE, gpios);

    if (!device_is_ready(dmic_dev)) {
        printk("DMIC not ready\n");
        return -1;
    }
    if (!device_is_ready(i2s_dev)) {
        printk("I2S not ready\n");
        return -1;
    }
    if (!device_is_ready(lora_dev)) {
        printk("LoRa not ready\n");
        return -1;
    }
    if (!device_is_ready(led_dev)) {
        printk("LED not ready\n");
        return -1;
    }

    /* ── GPIO setup ── */
    gpio_pin_configure_dt(&amp_en, GPIO_OUTPUT_INACTIVE);
    gpio_pin_configure_dt(&sw3, GPIO_INPUT);
    gpio_pin_interrupt_configure_dt(&sw3, GPIO_INT_EDGE_BOTH);
    gpio_init_callback(&sw3_cb_data, ptt_isr, BIT(sw3.pin));
    gpio_add_callback(sw3.port, &sw3_cb_data);

    /* LoRa is configured by lora_tx_thread (TX) and lora_rx_thread (RX) */

    /* ── Codec2 instance ── */
    codec2 = codec2_create(CODEC2_MODE_VAL);
    if (!codec2) {
        printk("Codec2 init failed\n");
        return -1;
    }
    codec2_set_natural_or_gray(codec2, 0);

    /* ── Launch threads ── */
    k_thread_create(&mic_td, mic_stack, K_THREAD_STACK_SIZEOF(mic_stack),
                    mic_thread_fn, NULL, NULL, NULL, 4, 0, K_NO_WAIT);
    k_thread_name_set(&mic_td, "mic");

    k_thread_create(&speaker_td, speaker_stack, K_THREAD_STACK_SIZEOF(speaker_stack),
                    speaker_thread_fn, NULL, NULL, NULL, 4, 0, K_NO_WAIT);
    k_thread_name_set(&speaker_td, "speaker");

    k_thread_create(&encode_td, encode_stack, K_THREAD_STACK_SIZEOF(encode_stack),
                    encode_thread_fn, NULL, NULL, NULL, 5, 0, K_NO_WAIT);
    k_thread_name_set(&encode_td, "c2enc");

    k_thread_create(&decode_td, decode_stack, K_THREAD_STACK_SIZEOF(decode_stack),
                    decode_thread_fn, NULL, NULL, NULL, 5, 0, K_NO_WAIT);
    k_thread_name_set(&decode_td, "c2dec");

    k_thread_create(&lora_tx_td, lora_tx_stack, K_THREAD_STACK_SIZEOF(lora_tx_stack),
                    lora_tx_thread_fn, NULL, NULL, NULL, 3, 0, K_NO_WAIT);
    k_thread_name_set(&lora_tx_td, "lora_tx");

    k_thread_create(&lora_rx_td, lora_rx_stack, K_THREAD_STACK_SIZEOF(lora_rx_stack),
                    lora_rx_thread_fn, NULL, NULL, NULL, 3, 0, K_NO_WAIT);
    k_thread_name_set(&lora_rx_td, "lora_rx");

    printk("Ready — hold SW3 to talk\n");

    return 0;
}
```

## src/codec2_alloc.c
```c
/* codec2_alloc.c
 *
 * Implements codec2_malloc/calloc/free declared in debug_alloc.h when
 * __EMBEDDED__ is defined. Routes to standard malloc/free backed by
 * CONFIG_HEAP_MEM_POOL_SIZE.
 */

#include <stdlib.h>

void *codec2_malloc(size_t size)  { return malloc(size); }
void *codec2_calloc(size_t n, size_t size) { return calloc(n, size); }
void  codec2_free(void *ptr)      { free(ptr); }
```
